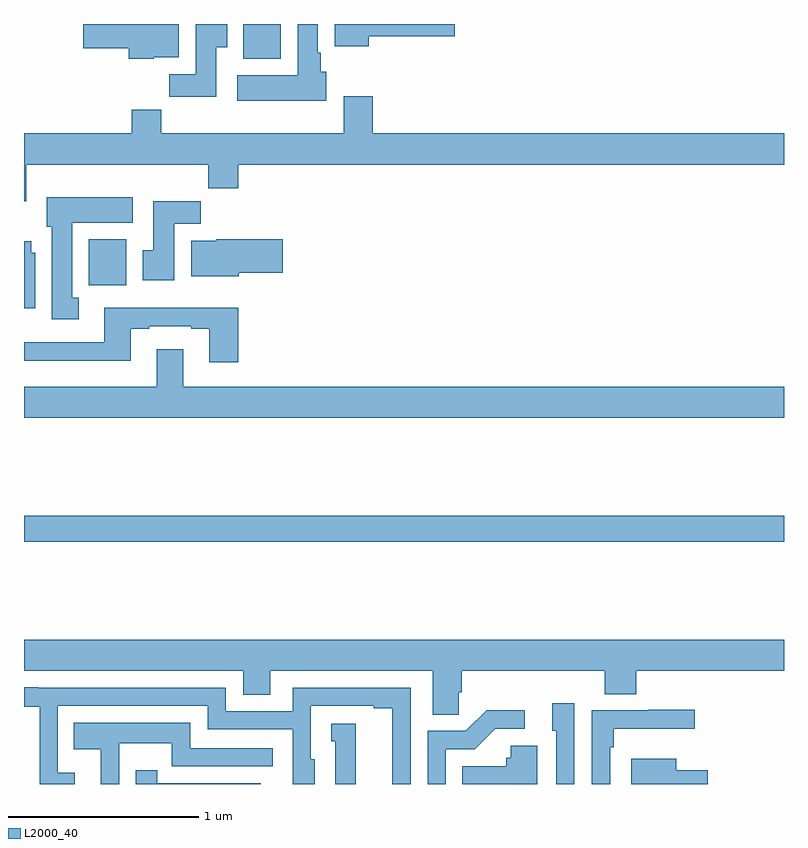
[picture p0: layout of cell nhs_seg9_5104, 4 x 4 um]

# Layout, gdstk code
import gdstk
lib = gdstk.Library(unit=1e-6, precision=1e-09)
def R(c, l, rs):  # rectangles x0, y0, x1, y1
    for r in rs: c.add(gdstk.rectangle(r[:2], r[2:], *l))
def P(c, l, *ps):  # polygons
    for p in ps: c.add(gdstk.Polygon(p, *l))
L2000_40 = (2000, 40)

nhs_seg9_5104 = lib.new_cell('nhs_seg9_5104')
R(nhs_seg9_5104, L2000_40, [(407,1187.776,411,1187.912), (407.342,1189.124,407.539,1189.366), (408.155,1190.318,408.352,1190.5)])
P(nhs_seg9_5104, L2000_40, [(408.592,1190.25),(408.562,1190.25),(408.562,1190.35),(408.547,1190.35),(408.547,1190.5),(408.44,1190.5),(408.44,1190.23),(408.123,1190.23),(408.123,1190.096),(408.592,1190.096)],
  [(408.814,1190.435),(409.267,1190.435),(409.267,1190.5),(408.635,1190.5),(408.635,1190.384),(408.814,1190.384)],
  [(408.013,1190.377),(408.07,1190.377),(408.07,1190.5),(407.903,1190.5),(407.903,1190.236),(407.764,1190.236),(407.764,1190.118),(408.013,1190.118)],
  [(407.682,1190.324),(407.815,1190.324),(407.815,1190.5),(407.312,1190.5),(407.312,1190.372),(407.552,1190.372),(407.552,1190.318),(407.682,1190.318)],
  [(407.011,1189.76),(407.971,1189.76),(407.971,1189.636),(408.128,1189.636),(408.128,1189.76),(411,1189.76),(411,1189.924),(408.836,1189.924),(408.836,1190.119),(408.683,1190.119),(408.683,1189.924),(407.723,1189.924),(407.723,1190.048),(407.567,1190.048),(407.567,1189.924),(407,1189.924),(407,1189.566),(407.011,1189.566)],
  [(407.287,1189.058),(407.254,1189.058),(407.254,1189.454),(407.572,1189.454),(407.572,1189.588),(407.12,1189.588),(407.12,1189.434),(407.147,1189.434),(407.147,1188.945),(407.287,1188.945)],
  [(407.791,1189.448),(407.93,1189.448),(407.93,1189.567),(407.681,1189.567),(407.681,1189.308),(407.624,1189.308),(407.624,1189.152),(407.791,1189.152)],
  [(408.13,1189.19),(408.361,1189.19),(408.361,1189.366),(408.012,1189.366),(408.012,1189.36),(407.879,1189.36),(407.879,1189.172),(408.13,1189.172)],
  [(407.059,1189.296),(407.038,1189.296),(407.038,1189.357),(407,1189.357),(407,1189.004),(407.059,1189.004)],
  [(408.128,1189.006),(407.423,1189.006),(407.423,1188.825),(407,1188.825),(407,1188.728),(407.563,1188.728),(407.563,1188.897),(407.659,1188.897),(407.659,1188.909),(407.879,1188.909),(407.879,1188.897),(407.975,1188.897),(407.975,1188.72),(408.128,1188.72)],
  [(411,1188.592),(407.839,1188.592),(407.839,1188.787),(407.699,1188.787),(407.699,1188.592),(407,1188.592),(407,1188.428),(411,1188.428)],
  [(409.289,1186.984),(409.304,1186.984),(409.304,1187.096),(410.057,1187.096),(410.057,1186.972),(410.222,1186.972),(410.222,1187.096),(411,1187.096),(411,1187.26),(407,1187.26),(407,1187.096),(408.155,1187.096),(408.155,1186.969),(408.295,1186.969),(408.295,1187.096),(409.151,1187.096),(409.151,1186.864),(409.289,1186.864)],
  [(407.266,1186.558),(407.178,1186.558),(407.178,1186.911),(407.967,1186.911),(407.967,1186.788),(408.414,1186.788),(408.414,1186.5),(408.529,1186.5),(408.529,1186.629),(408.51,1186.629),(408.51,1186.911),(408.842,1186.911),(408.842,1186.899),(408.938,1186.899),(408.938,1186.5),(409.035,1186.5),(409.035,1187.007),(408.414,1187.007),(408.414,1186.884),(408.063,1186.884),(408.063,1187.007),(407.075,1187.007),(407.075,1187.008),(407,1187.008),(407,1186.907),(407.082,1186.907),(407.082,1186.5),(407.266,1186.5)],
  [(409.896,1186.924),(409.781,1186.924),(409.781,1186.779),(409.8,1186.779),(409.8,1186.5),(409.896,1186.5)],
  [(410.085,1186.694),(410.105,1186.694),(410.105,1186.79),(410.53,1186.79),(410.53,1186.891),(410.285,1186.891),(410.285,1186.887),(409.989,1186.887),(409.989,1186.5),(410.085,1186.5)],
  [(409.221,1186.683),(409.372,1186.683),(409.48,1186.791),(409.636,1186.791),(409.636,1186.889),(409.436,1186.889),(409.326,1186.779),(409.125,1186.779),(409.125,1186.5),(409.221,1186.5)],
  [(407.502,1186.715),(407.778,1186.715),(407.778,1186.594),(407.881,1186.594),(407.881,1186.593),(408.31,1186.593),(408.31,1186.689),(407.874,1186.689),(407.874,1186.822),(407.263,1186.822),(407.263,1186.682),(407.405,1186.682),(407.405,1186.5),(407.502,1186.5)],
  [(408.745,1186.818),(408.617,1186.818),(408.617,1186.725),(408.638,1186.725),(408.638,1186.5),(408.745,1186.5)],
  [(409.702,1186.702),(409.562,1186.702),(409.562,1186.638),(409.537,1186.638),(409.537,1186.594),(409.306,1186.594),(409.306,1186.5),(409.702,1186.5)],
  [(410.599,1186.573),(410.434,1186.573),(410.434,1186.633),(410.195,1186.633),(410.195,1186.5),(410.599,1186.5)],
  [(408.247,1186.503),(407.7,1186.503),(407.7,1186.573),(407.587,1186.573),(407.587,1186.5),(408.247,1186.5)])

lib.write_gds('nhs_seg9_5104.gds')
